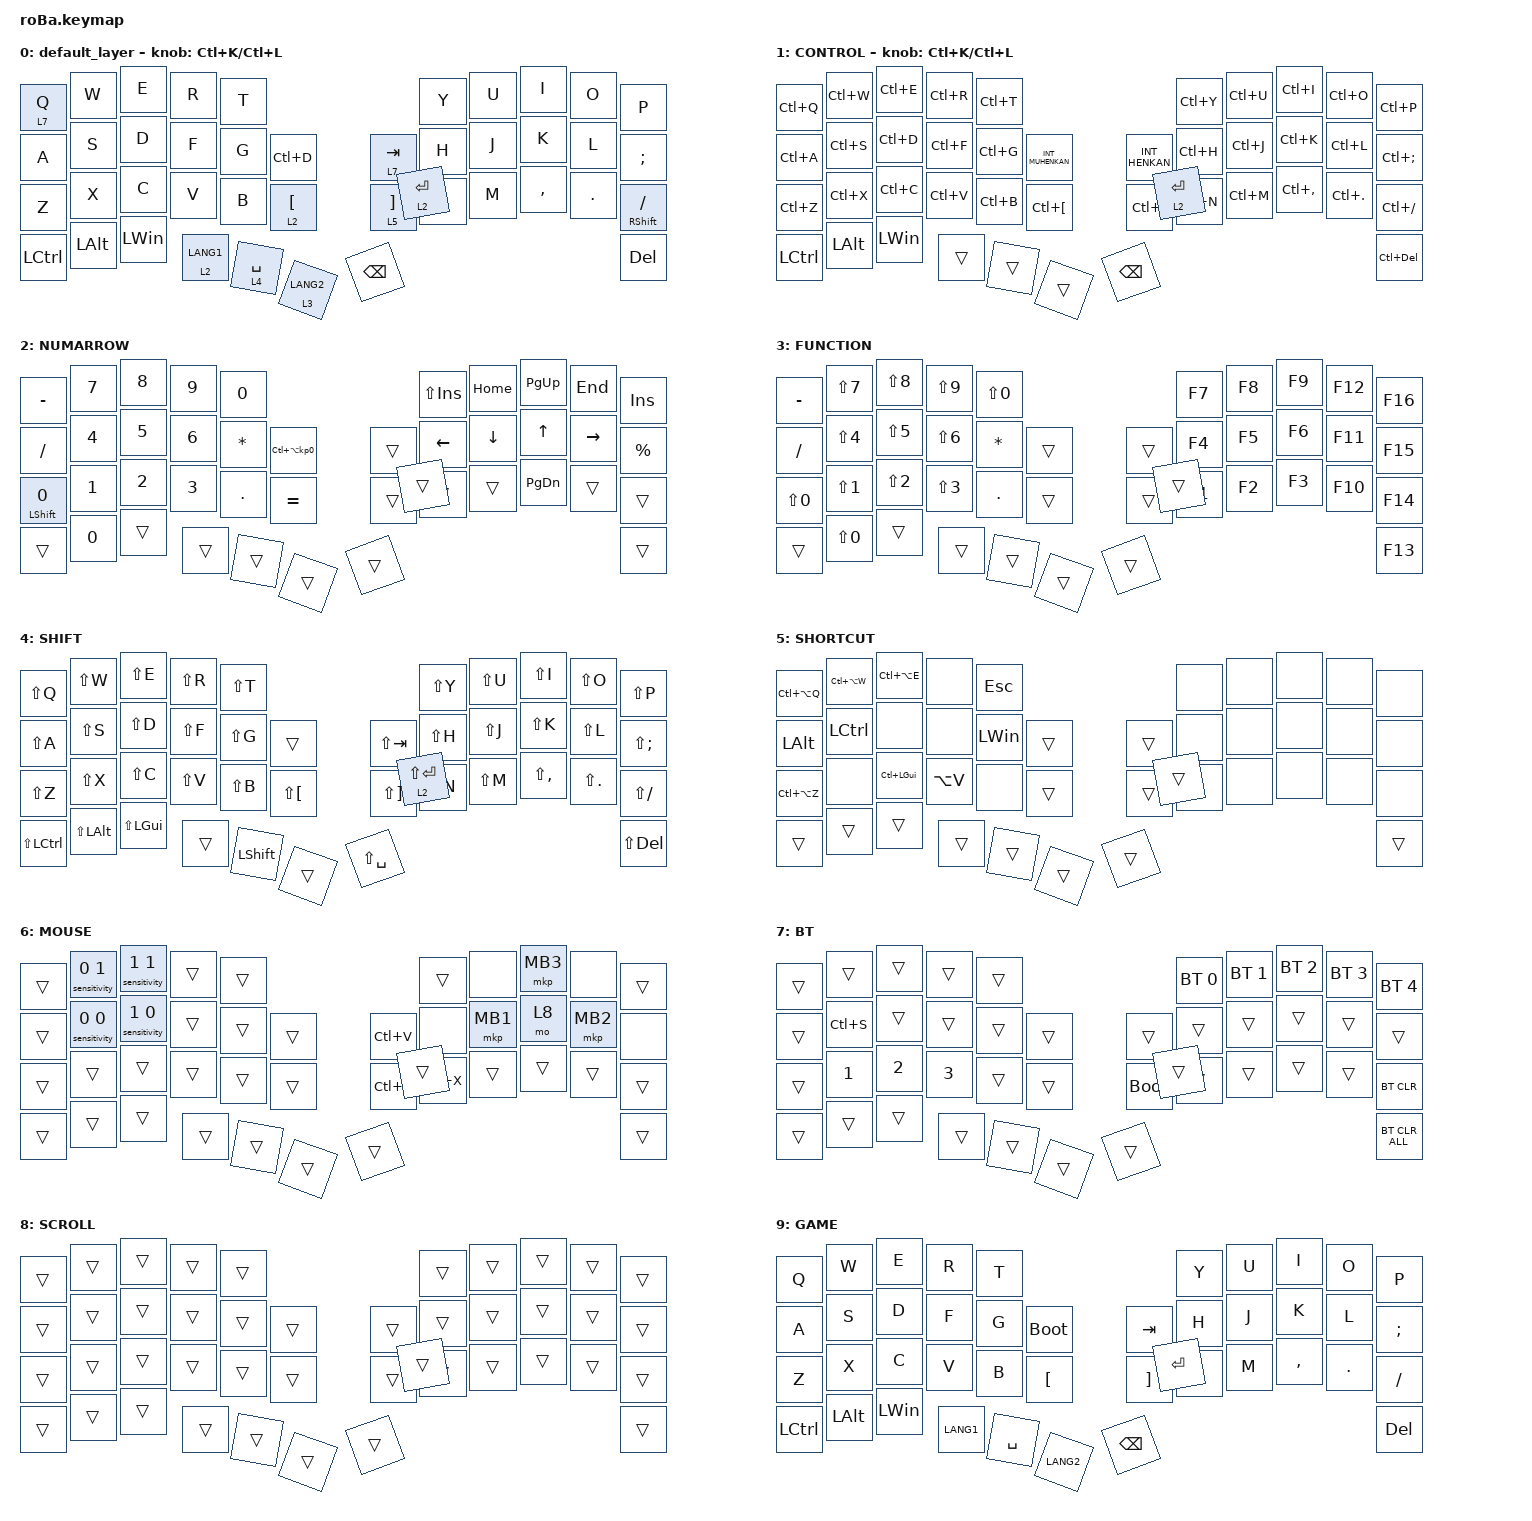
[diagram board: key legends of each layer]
#include <behaviors.dtsi>
#include <dt-bindings/zmk/bt.h>
#include <dt-bindings/zmk/keys.h>
#include <dt-bindings/zmk/pointing.h>

// #includeのあとのあたりにスクロール量を変更

&mt {
    flavor = "balanced";
    quick-tap-ms = <0>;
};

&trackball {
    // scroll-layers = <5>;
    // arrows {
    //     layers = <3>;
    //     bindings =
    //         <&kp RIGHT_ARROW>,
    //         <&kp LEFT_ARROW>,
    //         <&kp UP_ARROW>,
    //         <&kp DOWN_ARROW>;
    //     tick = <10>;
    //     wait-ms = <5>;
    //     tap-ms = <5>;
    // };
};

/ {
    combos {
        compatible = "zmk,combos";

        Esc {
            bindings = <&kp ESCAPE>;
            key-positions = <1 0>;
        };

        Tab {
            bindings = <&kp TAB>;
            key-positions = <11 10>;
        };

        CapsLock {
            bindings = <&kp CAPSLOCK>;
            key-positions = <23 22>;
        };

        eq {
            bindings = <&kp EQUAL>;
            key-positions = <8 9 7>;
        };

        BackSlash {
            bindings = <&kp BACKSLASH>;
            key-positions = <8 9>;
        };

        Apos {
            bindings = <&kp SQT>;
            key-positions = <20 21>;
        };

        BackQuote {
            bindings = <&kp GRAVE>;
            key-positions = <33 32>;
        };

        LANG_1 {
            bindings = <&kp LANG1>;
            key-positions = <18 19>;
        };

        LANG_2 {
            bindings = <&kp LANG2>;
            key-positions = <13 12>;
        };

        Hyphen {
            bindings = <&kp MINUS>;
            key-positions = <25 24>;
        };

        UnderScore {
            bindings = <&kp LS(MINUS)>;
            key-positions = <30 31>;
        };

        Plus {
            bindings = <&kp LS(EQUAL)>;
            key-positions = <8 9 7 38>;
        };

        Pipe {
            bindings = <&kp LS(BACKSLASH)>;
            key-positions = <8 9 38>;
        };

        DoubleQuote {
            bindings = <&kp LS(SQT)>;
            key-positions = <20 21 38>;
        };

        tab2 {
            bindings = <&kp TAB>;
            key-positions = <3 2>;
        };

        Shift+tab2 {
            bindings = <&kp LS(TAB)>;
            key-positions = <3 2 1>;
        };

        tilda {
            bindings = <&kp LS(GRAVE)>;
            key-positions = <33 32 38>;
        };

        CtrlH {
            bindings = <&kp LC(H)>;
            key-positions = <19 20>;
        };

        CtrlGui {
            bindings = <&kp LC(LGUI)>;
            key-positions = <31 32>;
        };

        GameMode {
            bindings = <&tog 9>;
            key-positions = <34 35 36>;
        };

        Shift {
            bindings = <&kp LEFT_SHIFT>;
            key-positions = <23 24>;
        };
    };

    macros {
        to_layer_0: to_layer_0 {
            compatible = "zmk,behavior-macro-one-param";
            #binding-cells = <1>;
            bindings = <&to 0 &macro_param_1to1 &kp MACRO_PLACEHOLDER>;
            label = "TO_LAYER_0";
        };
    };

    behaviors {
        num_zero_mt: num_zero_mod_tap {
            compatible = "zmk,behavior-hold-tap";
            #binding-cells = <2>;
            bindings = <&kp>, <&kp>;
            flavor = "balanced";
            tapping-term-ms = <250>;
            quick-tap-ms = <0>;
            display-name = "Number Zero Mod-Tap";
        };

        sensitivity: sensitivity {
            compatible = "roba,behavior-sensitivity";
            #binding-cells = <2>;
            display-name = "Trackball Sensitivity";
        };

        lt_to_layer_0: lt_to_layer_0 {
            compatible = "zmk,behavior-hold-tap";
            label = "LAYER_TAP_TO_0";
            bindings = <&mo>, <&to_layer_0>;

            #binding-cells = <2>;
            tapping-term-ms = <200>;
        };

        // 電電猫猫氏作 ZMKでロータリーエンコーダをマウススクロールを割り当てる
        // 新しいスクロール動作の追加

        scroll_up_down: behavior_sensor_rotate_mouse_wheel_up_down {
            compatible = "zmk,behavior-sensor-rotate";
            #sensor-binding-cells = <0>;
            bindings = <&msc SCRL_DOWN>, <&msc SCRL_UP>;

            // 追加: スクロールのタップ時間を設定 (20ms)

            tap-ms = <20>;
        };
    };

    keymap {
        compatible = "zmk,keymap";

        default_layer {
            bindings = <
&lt 7 Q    &kp W         &kp E         &kp R                   &kp T                                                         &kp Y        &kp U  &kp I      &kp O    &kp P
&kp A      &kp S         &kp D         &kp F                   &kp G        &kp LC(D)                   &lt 7 TAB            &kp H        &kp J  &kp K      &kp L    &kp SEMICOLON
&kp Z      &kp X         &kp C         &kp V                   &kp B        &lt 2 LEFT_BRACKET          &lt 5 RIGHT_BRACKET  &kp N        &kp M  &kp COMMA  &kp DOT  &mt RSHIFT SLASH
&kp LCTRL  &kp LEFT_ALT  &kp LEFT_WIN  &lt_to_layer_0 2 LANG1  &lt 4 SPACE  &lt_to_layer_0 3 LANG2      &kp BACKSPACE        &lt 2 ENTER                             &kp DEL
            >;

            sensor-bindings = <&inc_dec_kp LC(K) LC(L)>;
        };

        CONTROL {
            bindings = <
&kp LC(Q)  &kp LC(W)     &kp LC(E)     &kp LC(R)  &kp LC(T)                                                   &kp LC(Y)    &kp LC(U)  &kp LC(I)      &kp LC(O)    &kp LC(P)
&kp LC(A)  &kp LC(S)     &kp LC(D)     &kp LC(F)  &kp LC(G)  &kp INT_MUHENKAN          &kp INT_HENKAN         &kp LC(H)    &kp LC(J)  &kp LC(K)      &kp LC(L)    &kp LC(SEMICOLON)
&kp LC(Z)  &kp LC(X)     &kp LC(C)     &kp LC(V)  &kp LC(B)  &kp LC(LEFT_BRACKET)      &kp LC(RIGHT_BRACKET)  &kp LC(N)    &kp LC(M)  &kp LC(COMMA)  &kp LC(DOT)  &kp LC(SLASH)
&kp LCTRL  &kp LEFT_ALT  &kp LEFT_WIN  &trans     &trans     &trans                    &kp BACKSPACE          &lt 2 ENTER                                         &kp LC(DEL)
            >;

            sensor-bindings = <&inc_dec_kp LC(K) LC(L)>;
        };

        NUMARROW {
            bindings = <
&kp MINUS          &kp N7  &kp N8        &kp N9  &kp N0                                             &kp LS(INSERT)  &kp HOME  &kp PAGE_UP    &kp END    &kp INSERT
&kp SLASH          &kp N4  &kp N5        &kp N6  &kp ASTERISK  &kp LC(LA(KP_NUMBER_0))      &trans  &kp LEFT        &kp DOWN  &kp UP         &kp RIGHT  &kp PERCENT
&num_zero_mt LEFT_SHIFT N0  &kp N1  &kp NUMBER_2  &kp N3  &kp PERIOD    &kp EQUAL                    &trans  &trans          &trans    &kp PAGE_DOWN  &trans     &trans
&trans             &kp N0  &trans        &trans  &trans        &trans                       &trans  &trans                                              &trans
            >;
        };

        FUNCTION {
            bindings = <
&kp MINUS   &kp LS(N7)  &kp LS(N8)  &kp LS(N9)  &kp LS(N0)                        &kp F7  &kp F8  &kp F9  &kp F12  &kp F16
&kp SLASH   &kp LS(N4)  &kp LS(N5)  &kp LS(N6)  &kp ASTERISK  &trans      &trans  &kp F4  &kp F5  &kp F6  &kp F11  &kp F15
&kp LS(N0)  &kp LS(N1)  &kp LS(N2)  &kp LS(N3)  &kp PERIOD    &trans      &trans  &kp F1  &kp F2  &kp F3  &kp F10  &kp F14
&trans      &kp LS(N0)  &trans      &trans      &trans        &trans      &trans  &trans                           &kp F13
            >;
        };

        SHIFT {
            bindings = <
&kp LS(Q)      &kp LS(W)     &kp LS(E)     &kp LS(R)  &kp LS(T)                                                        &kp LS(Y)        &kp LS(U)  &kp LS(I)      &kp LS(O)    &kp LS(P)
&kp LS(A)      &kp LS(S)     &kp LS(D)     &kp LS(F)  &kp LS(G)       &trans                    &kp LS(TAB)            &kp LS(H)        &kp LS(J)  &kp LS(K)      &kp LS(L)    &kp LS(SEMI)
&kp LS(Z)      &kp LS(X)     &kp LS(C)     &kp LS(V)  &kp LS(B)       &kp LS(LEFT_BRACKET)      &kp LS(RIGHT_BRACKET)  &kp LS(N)        &kp LS(M)  &kp LS(COMMA)  &kp LS(DOT)  &kp LS(FSLH)
&kp LS(LCTRL)  &kp LS(LALT)  &kp LS(LGUI)  &trans     &kp LEFT_SHIFT  &trans                    &kp LS(SPACE)          &lt 2 LS(ENTER)                                         &kp LS(DELETE)
            >;
        };

        SHORTCUT {
            bindings = <
&kp LC(LA(Q))  &kp LC(LA(W))  &kp LC(LA(E))  &none      &kp ESCAPE                        &none   &none  &none  &none  &none
&kp LEFT_ALT   &kp LCTRL      &none          &none      &kp LEFT_WIN  &trans      &trans  &none   &none  &none  &none  &none
&kp LC(LA(Z))  &none          &kp LC(LGUI)   &kp LA(V)  &none         &trans      &trans  &none   &none  &none  &none  &none
&trans         &trans         &trans         &trans     &trans        &trans      &trans  &trans                       &trans
            >;
        };

        MOUSE {
            bindings = <
&trans  &sensitivity 0 1  &sensitivity 1 1  &trans  &trans                         &trans     &none     &mkp MB3  &none     &trans
&trans  &sensitivity 0 0  &sensitivity 1 0  &trans  &trans  &trans      &kp LC(V)  &none      &mkp MB1  &mo 8     &mkp MB2  &none
&trans  &trans  &trans  &trans  &trans  &trans      &kp LC(C)  &kp LC(X)  &trans    &trans    &trans    &trans
&trans  &trans  &trans  &trans  &trans  &trans      &trans     &trans                                   &trans
            >;
        };

        BT {
            bindings = <
&trans  &trans        &trans        &trans        &trans                           &bt BT_SEL 0  &bt BT_SEL 1  &bt BT_SEL 2  &bt BT_SEL 3  &bt BT_SEL 4
&trans  &kp LC(S)     &trans        &trans        &trans  &trans      &trans       &trans        &trans        &trans        &trans        &trans
&trans  &kp NUMBER_1  &kp NUMBER_2  &kp NUMBER_3  &trans  &trans      &bootloader  &trans        &trans        &trans        &trans        &bt BT_CLR
&trans  &trans        &trans        &trans        &trans  &trans      &trans       &trans                                                  &bt BT_CLR_ALL
            >;
        };

        SCROLL {
            bindings = <
&trans  &trans  &trans  &trans  &trans                      &trans  &trans  &trans  &trans  &trans
&trans  &trans  &trans  &trans  &trans  &trans      &trans  &trans  &trans  &trans  &trans  &trans
&trans  &trans  &trans  &trans  &trans  &trans      &trans  &trans  &trans  &trans  &trans  &trans
&trans  &trans  &trans  &trans  &trans  &trans      &trans  &trans                          &trans
            >;
        };

        GAME {
            bindings = <
&kp Q      &kp W         &kp E         &kp R      &kp T                                               &kp Y      &kp U  &kp I      &kp O    &kp P
&kp A      &kp S         &kp D         &kp F      &kp G      &bootloader           &kp TAB            &kp H      &kp J  &kp K      &kp L    &kp SEMICOLON
&kp Z      &kp X         &kp C         &kp V      &kp B      &kp LEFT_BRACKET      &kp RIGHT_BRACKET  &kp N      &kp M  &kp COMMA  &kp DOT  &kp SLASH
&kp LCTRL  &kp LEFT_ALT  &kp LEFT_WIN  &kp LANG1  &kp SPACE  &kp LANG2             &kp BACKSPACE      &kp ENTER                             &kp DEL
            >;
        };
    };
};
